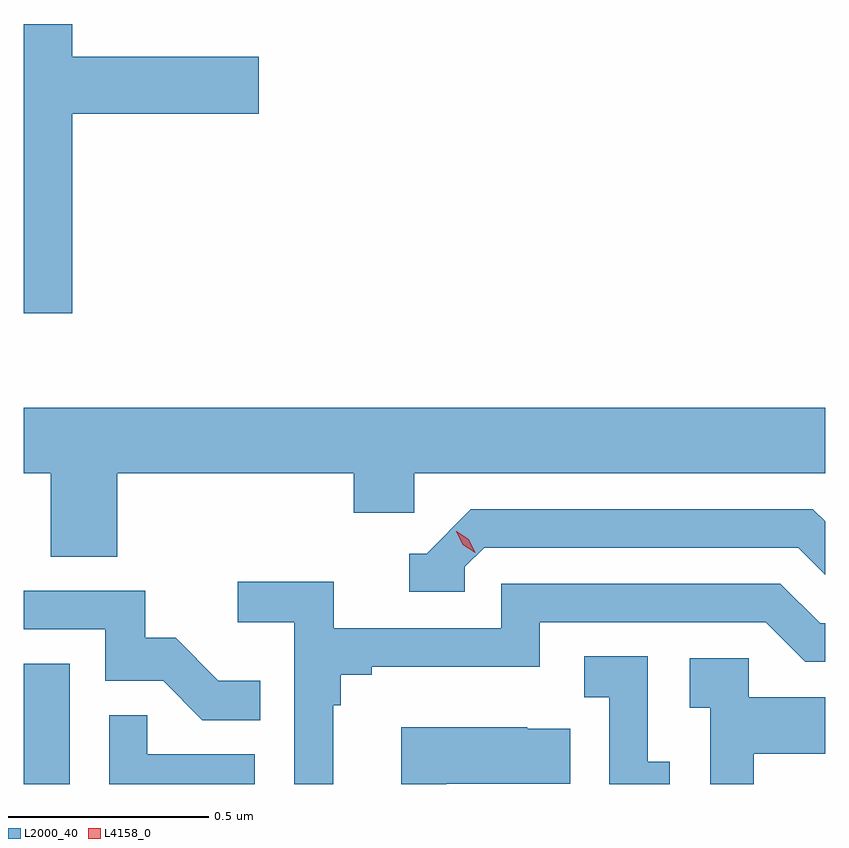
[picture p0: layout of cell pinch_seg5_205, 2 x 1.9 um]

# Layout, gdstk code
import gdstk
lib = gdstk.Library(unit=1e-6, precision=1e-09)
def R(c, l, rs):  # rectangles x0, y0, x1, y1
    for r in rs: c.add(gdstk.rectangle(r[:2], r[2:], *l))
def P(c, l, *ps):  # polygons
    for p in ps: c.add(gdstk.Polygon(p, *l))
L2000_40 = (2000, 40)
L4158_0 = (4158, 0)

pinch_seg5_205 = lib.new_cell('pinch_seg5_205')
R(pinch_seg5_205, L2000_40, [(1001.643,894.613,1001.758,894.913)])
P(pinch_seg5_205, L2000_40, [(1001.764,896.285),(1002.229,896.285),(1002.229,896.427),(1001.764,896.427),(1001.764,896.509),(1001.643,896.509),(1001.643,895.788),(1001.764,895.788)],
  [(1001.876,895.388),(1002.467,895.388),(1002.467,895.29),(1002.618,895.29),(1002.618,895.388),(1003.643,895.388),(1003.643,895.552),(1001.643,895.552),(1001.643,895.388),(1001.711,895.388),(1001.711,895.18),(1001.876,895.18)],
  [(1002.744,895.155),(1002.792,895.203),(1003.575,895.203),(1003.643,895.135),(1003.643,895.268),(1003.612,895.299),(1002.759,895.299),(1002.648,895.188),(1002.605,895.188),(1002.605,895.092),(1002.744,895.092)],
  [(1002.415,894.809),(1002.434,894.809),(1002.434,894.886),(1002.511,894.886),(1002.511,894.905),(1002.93,894.905),(1002.93,895.017),(1003.494,895.017),(1003.593,894.918),(1003.643,894.918),(1003.643,895.014),(1003.63,895.014),(1003.531,895.113),(1002.834,895.113),(1002.834,895.002),(1002.416,895.002),(1002.416,895.118),(1002.177,895.118),(1002.177,895.016),(1002.318,895.016),(1002.318,894.613),(1002.415,894.613)],
  [(1002.233,894.871),(1002.129,894.871),(1002.022,894.978),(1001.946,894.978),(1001.946,895.095),(1001.643,895.095),(1001.643,894.999),(1001.847,894.999),(1001.847,894.87),(1001.991,894.87),(1002.089,894.772),(1002.233,894.772)],
  [(1003.255,894.669),(1003.2,894.669),(1003.2,894.932),(1003.041,894.932),(1003.041,894.829),(1003.104,894.829),(1003.104,894.613),(1003.255,894.613)],
  [(1003.465,894.689),(1003.643,894.689),(1003.643,894.829),(1003.452,894.829),(1003.452,894.927),(1003.305,894.927),(1003.305,894.803),(1003.356,894.803),(1003.356,894.613),(1003.465,894.613)],
  [(1002.22,894.687),(1001.951,894.687),(1001.951,894.785),(1001.856,894.785),(1001.856,894.613),(1002.22,894.613)],
  [(1002.697,894.614),(1003.007,894.614),(1003.007,894.751),(1002.899,894.751),(1002.899,894.754),(1002.585,894.754),(1002.585,894.613),(1002.697,894.613)])
P(pinch_seg5_205, L4158_0, [(1002.769,895.19),(1002.739,895.21),(1002.722,895.243),(1002.722,895.243),(1002.723,895.243),(1002.753,895.223),(1002.77,895.191),(1002.77,895.19)])

lib.write_gds('pinch_seg5_205.gds')
